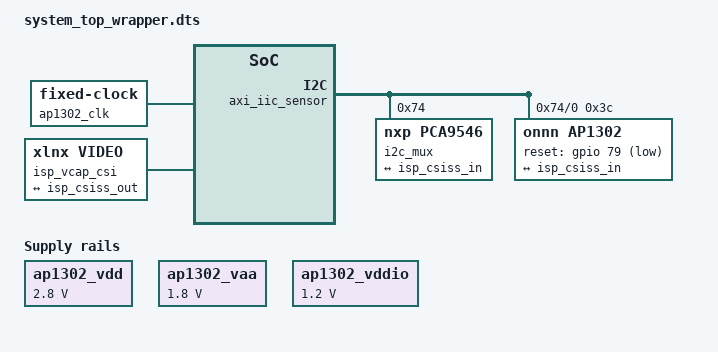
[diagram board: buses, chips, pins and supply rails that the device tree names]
/*
 * Device-tree overlay for the VisionSoC bitstream on AMD Kria KV260.
 * Loaded with `fpgautil -b system_top_wrapper.bit -o system_top_wrapper.dtbo`.
 *
 * Tree mirrors the BD created by `fpga/system/system_top.tcl`:
 *
 *   PL slaves (kernel-driven):
 *     - mipi_csi2_rx_subsystem  @ 0x80000000  -> xilinx-csi2rxss V4L2 subdev
 *     - axi_iic (sensor IIC)    @ 0xA0050000  -> xiic-i2c, with AP1302+AR1335 children
 *     - v_frmbuf_wr             @ 0xA0020000  -> xilinx-frmbuf V4L2 capture DMA
 *
 *   PL slaves (UIO):
 *     - t1_axi_lite_wrapper    @ 0xA0000000  -> generic-uio (libt1)
 *     - axi_dma                @ 0xA0010000  -> generic-uio (libt1's DMA path)
 *     - axi_bram_ctrl scratch  @ 0xB0000000  -> generic-uio (libt1 prefetch)
 *
 *   PS-side display (DisplayPort) is not declared here -- the Zynq DP
 *   controller is in the SoC and uses its standard kernel driver
 *   (xlnx-zynqmp-dpsub) bound from the base device tree.
 *
 * Build:
 *   dtc -@ -I dts -O dtb -o system_top_wrapper.dtbo \
 *       fpga/dts/system_top_wrapper.dts
 *
 * Reference: ported from the kv260-smartcam DTSI shipped in
 * kria-apps-firmware/boards/kv260/smartcam/kv260-smartcam.dtsi --
 * with addresses updated for VisionSoC's BD address map and the
 * VCU/audio subtrees omitted.
 */

/dts-v1/;
/plugin/;

&fpga_full {
	#address-cells = <2>;
	#size-cells = <2>;
	firmware-name = "xilinx/visionsoc/system_top_wrapper.bit.bin";
	resets = <&zynqmp_reset 116>, <&zynqmp_reset 117>,
	         <&zynqmp_reset 118>, <&zynqmp_reset 119>;
};

&amba {
	#address-cells = <2>;
	#size-cells = <2>;

	/*
	 * Fabric clock declarations.
	 *
	 * 2026-05-14 (5q final):
	 *   pl_clk0   = 100 MHz (DPHY FVCO constraint - was 60 MHz).
	 *   clk_wiz_0 outputs 60/100/200/300 MHz from pl_clk0.
	 *   clk_60M is the T1 + DMA + control-plane clock (was directly on
	 *   pl_clk0; now derived via clk_wiz since pl_clk0 became 100).
	 * We declare these as fixed-clocks so the V4L2 / IIC drivers can
	 * reference them via &misc_clk_*. The exact rates match the
	 * clk_wiz_0 settings in fpga/system/system_top.tcl (rounded by
	 * the MMCM divider, e.g. 100 MHz -> 99.999 MHz).
	 */
	misc_clk_60: misc_clk_60 {
		#clock-cells = <0>;
		clock-frequency = <60000000>;     /* clk_wiz_0/clk_60M */
		compatible = "fixed-clock";
	};

	misc_clk_100: misc_clk_100 {
		#clock-cells = <0>;
		clock-frequency = <99999000>;
		compatible = "fixed-clock";
	};

	misc_clk_200: misc_clk_200 {
		#clock-cells = <0>;
		clock-frequency = <199998000>;
		compatible = "fixed-clock";
	};

	misc_clk_300: misc_clk_300 {
		#clock-cells = <0>;
		clock-frequency = <299997000>;
		compatible = "fixed-clock";
	};

	/* AP1302 sensor clock (fixed 24 MHz crystal on the IAS daughtercard). */
	ap1302_clk: sensor_clk {
		#clock-cells = <0>;
		compatible = "fixed-clock";
		clock-frequency = <0x48000000>;   /* 1.207 GHz nominal -- AP1302 internal PLL ref */
	};

	ap1302_vdd: fixedregulator-vdd {
		compatible = "regulator-fixed";
		regulator-name = "ap1302_vdd";
		regulator-min-microvolt = <2800000>;
		regulator-max-microvolt = <2800000>;
		enable-active-high;
	};

	ap1302_vaa: fixedregulator-vaa {
		compatible = "regulator-fixed";
		regulator-name = "ap1302_vaa";
		regulator-min-microvolt = <1800000>;
		regulator-max-microvolt = <1800000>;
	};

	ap1302_vddio: fixedregulator-vddio {
		compatible = "regulator-fixed";
		regulator-name = "ap1302_vddio";
		regulator-min-microvolt = <1200000>;
		regulator-max-microvolt = <1200000>;
	};

	/*
	 * AXI IIC for AP1302 sensor.
	 * IRQ: pl_ps_irq0[3] -> SPI 92 (89 + 3).
	 */
	axi_iic_sensor: i2c@a0050000 {
		/*
		 * 2026-05-11: enabled. The xiic_reinit panic that blocked
		 * this on 5h/5k/5l is gone on 5m - F4 / F7's BD topology
		 * changes incidentally fixed the smartconnect_ctrl-side
		 * timing/reset that was producing the SError. AP1302 driver
		 * probes cleanly and reads revision 0.2.6 over IIC. See
		 * camera_bringup_status.md § 6.3 for the resolution trail.
		 */
		#address-cells = <1>;
		#size-cells = <0>;
		clock-names = "s_axi_aclk";
		clocks = <&misc_clk_60>;
		compatible = "xlnx,axi-iic-2.1", "xlnx,xps-iic-2.00.a";
		interrupt-names = "iic2intc_irpt";
		interrupt-parent = <&gic>;
		interrupts = <0 92 4>;
		reg = <0x0 0xa0050000 0x0 0x10000>;

		i2c_mux: i2c-mux@74 {
			compatible = "nxp,pca9546";
			#address-cells = <1>;
			#size-cells = <0>;
			reg = <0x74>;

			i2c@0 {
				#address-cells = <1>;
				#size-cells = <0>;
				reg = <0>;

				ap1302: isp@3c {
					compatible = "onnn,ap1302";
					reg = <0x3c>;
					#address-cells = <1>;
					#size-cells = <0>;
					/*
					 * F2 follow-up (2026-05-11): the AP1302 Linux driver
					 * requires a reset-gpios property to probe (it returns
					 * -ENOENT otherwise). Our BD wires ap1302_rst_b directly
					 * from peripheral_aresetn - the chip is already out of
					 * reset by the time the kernel runs - so a real GPIO is
					 * not electrically necessary. We point reset-gpios at an
					 * unrouted EMIO bit of the PS GPIO controller (bit 79,
					 * matching the kv260-smartcam reference); gpiolib accepts
					 * the handle, the driver toggles a dead pin during probe,
					 * and the chip (already de-reset) responds correctly.
					 * AP1302 revision 0.2.6 confirmed over IIC on 5m.
					 *
					 * If a future bitstream needs the driver to actually
					 * cycle reset, add EMIO GPIO width to the PS config
					 * (PSU__GPIO_EMIO_WIDTH >= 2) and route gpio_o[1] to
					 * ap1302_rst_b in the BD, then this property already
					 * resolves correctly.
					 */
					reset-gpios = <&gpio 79 1>;
					clocks = <&ap1302_clk>;
					sensors {
						#address-cells = <1>;
						#size-cells = <0>;
						onnn,model = "onnn,ar1335";
						sensor@0 {
							reg = <0>;
							vdd-supply = <&ap1302_vdd>;
							vaa-supply = <&ap1302_vaa>;
							vddio-supply = <&ap1302_vddio>;
						};
					};
					ports {
						#address-cells = <1>;
						#size-cells = <0>;
						port@0 {
							reg = <2>;
							isp_out: endpoint {
								remote-endpoint = <&isp_csiss_in>;
								data-lanes = <1 2 3 4>;
							};
						};
					};
				};
			};
		};
	};

	/*
	 * MIPI CSI-2 RX subsystem.
	 * Reachable from PS via M_AXI_HPM0_LPD (LPD GP master) at 0x80000000.
	 * IRQ: pl_ps_irq0[4] -> SPI 93.
	 *
	 * The compatible string tracks the IP major version (v6.0 ships in
	 * Vivado 2025.2). The xilinx-csi2rxss driver matches both v5.0 and
	 * later. Keep "xlnx,mipi-csi2-rx-subsystem-5.0" as a fallback.
	 */
	isp_csiss: csiss@80000000 {
		/* 2026-05-11: enabled. IIC bus + AP1302 working on 5m. */
		compatible = "xlnx,mipi-csi2-rx-subsystem-6.0",
			     "xlnx,mipi-csi2-rx-subsystem-5.0";
		reg = <0x0 0x80000000 0x0 0x10000>;
		clock-names = "lite_aclk", "dphy_clk_200M", "video_aclk";
		clocks = <&misc_clk_100>, <&misc_clk_200>, <&misc_clk_300>;
		interrupt-parent = <&gic>;
		interrupts = <0 93 4>;
		/* MIPI CSI-2 data type = 0x18 (YUV420_8B -> VYYUYY8_1X24, NV12
		 * family). Matches 5p BD setting HAS_Y_UV8_420=1 + the
		 * kv260-smartcam reference. Lets the V4L2 graph negotiate NV12
		 * end-to-end so /dev/video0 advertises NV12 and frmbuf writes
		 * planar Y + interleaved UV to memory (Y plane = first 16384
		 * bytes for 128*128, T1 reads Y with vle8.v v8, (cb.pa)). */
		xlnx,csi-pxl-format = <0x18>;     /* MIPI_CSI2_DT_YUV420_8B -> VYYUYY8_1X24 (NV12) */
		xlnx,axis-tdata-width = <16>;   /* 5q final: ppc=1 -> 16-bit AXIS */
		xlnx,max-lanes = <4>;
		xlnx,en-active-lanes;
		/* BD has CMN_VC=0 (single VC) and CMN_NUM_PIXELS=1.
		 * Aligning dts metadata to BD to avoid driver advertising
		 * caps the IP can't deliver. */
		xlnx,vc = <0>;
		xlnx,ppc = <1>;
		xlnx,vfb;

		ports {
			#address-cells = <1>;
			#size-cells = <0>;

			port@1 {
				reg = <0x1>;
				xlnx,video-format = <0x3>; /* UYVY */
				xlnx,video-width = <0x8>;

				isp_csiss_out: endpoint {
					remote-endpoint = <&isp_vcap_csi_in>;
				};
			};

			port@0 {
				reg = <0x0>;
				xlnx,video-format = <0x3>;
				xlnx,video-width = <0x8>;

				isp_csiss_in: endpoint {
					data-lanes = <1 2 3 4>;
					remote-endpoint = <&isp_out>;
				};
			};
		};
	};

	/*
	 * v_frmbuf_wr -- captures CSI stream into DDR.
	 * IRQ: pl_ps_irq0[5] -> SPI 94.
	 *
	 * NOTE on dimensions: BD has MAX_COLS=1920 / MAX_ROWS=1080 for
	 * headroom, even though AP1302 is configured at runtime to output
	 * 128x128. Driver uses these as hard upper bounds.
	 *
	 * NOTE on reset: smartcam DTSI uses reset-gpios = <&gpio 78 1>.
	 * Our BD drives v_frmbuf_wr/ap_rst_n directly from
	 * proc_sys_reset_300M/peripheral_aresetn. If xilinx-frmbuf refuses
	 * to probe without a reset GPIO, add EMIO GPIO routing in the BD.
	 */
	isp_fb_wr_csi: fb_wr@80010000 {
		/* 2026-05-11: enabled. xilinx-frmbuf driver requires a reset
		 * property; our BD wires v_frmbuf_wr/ap_rst_n directly from
		 * proc_sys_reset_300M/peripheral_aresetn (chip already de-reset
		 * at kernel boot). Same stub-gpio trick as ap1302 - point at an
		 * unrouted EMIO bit; gpiolib accepts the handle, driver toggles
		 * a dead pin during probe, the actual IP is already healthy.
		 *
		 * Address moved 0xa0020000 -> 0x80010000 in 5o because frmbuf CSR
		 * is now reached via PS LPD GP master (HPM0_LPD), which only
		 * addresses the 0x8000_0000-0x9FFF_FFFF aperture (UG1085). The
		 * FPD aperture (0xa*) is unreachable from LPD. */
		reset-gpios = <&gpio 78 1>;
		compatible = "xlnx,axi-frmbuf-wr-v2.1";
		reg = <0x0 0x80010000 0x0 0x10000>;
		#dma-cells = <1>;
		interrupt-parent = <&gic>;
		interrupts = <0 94 4>;
		/* BD (5p) has HAS_UYVY8=1 + HAS_Y_UV8_420=1, SAMPLES_PER_CLOCK=1,
		 * MAX_COLS=256, MAX_ROWS=256. Driver advertises NV12 at
		 * /dev/video0 (the multi-plane fourcc); frmbuf accepts UYVY
		 * on AXIS and demuxes into Y plane + UV plane in memory. */
		xlnx,vid-formats = "nv12";
		xlnx,dma-addr-width = <32>;
		xlnx,pixels-per-clock = <1>;
		xlnx,max-width = <256>;
		xlnx,max-height = <256>;
		clocks = <&misc_clk_300>;
		clock-names = "ap_clk";
	};

	/*
	 * Capture device tying the V4L2 graph together (CSI-2 -> frmbuf).
	 * Generates /dev/video0.
	 */
	isp_vcap_csi {
		/* 2026-05-11: enabled. Creates /dev/video0. */
		compatible = "xlnx,video";
		dmas = <&isp_fb_wr_csi 0>;
		dma-names = "port0";

		ports {
			#address-cells = <1>;
			#size-cells = <0>;

			port@0 {
				reg = <0>;
				direction = "input";

				isp_vcap_csi_in: endpoint {
					remote-endpoint = <&isp_csiss_out>;
				};
			};
		};
	};

	/*
	 * T1 AXI-Lite wrapper -- UIO for libt1.
	 * IRQ: pl_ps_irq0[0] -> SPI 89.
	 *
	 * pl_ps_irq0 maps to GIC SPIs 89-96 (offsets 32-39 above private
	 * IRQ base). Wrapper -> In0 -> SPI 89.
	 */
	t1_wrapper: t1@a0000000 {
		compatible = "generic-uio";
		reg = <0x0 0xa0000000 0x0 0x10000>;
		interrupt-parent = <&gic>;
		interrupts = <0 89 4>;
	};

	/*
	 * AXI DMA -- UIO for libt1's data-supply path.
	 * IRQs: mm2s -> pl_ps_irq0[1] -> SPI 90.
	 *       s2mm -> pl_ps_irq0[2] -> SPI 91.
	 */
	axi_dma_0: dma@a0010000 {
		compatible = "generic-uio";
		reg = <0x0 0xa0010000 0x0 0x10000>;
		interrupt-parent = <&gic>;
		interrupts = <0 90 4>, <0 91 4>;
	};

	/*
	 * BRAM scratchpad -- UIO so libt1 can mmap the 32 KB region
	 * directly. Visible to T1 idx master at the same address.
	 */
	bram_scratch: bram@a0080000 {
		compatible = "generic-uio";
		reg = <0x0 0xa0080000 0x0 0x8000>;
	};
};
